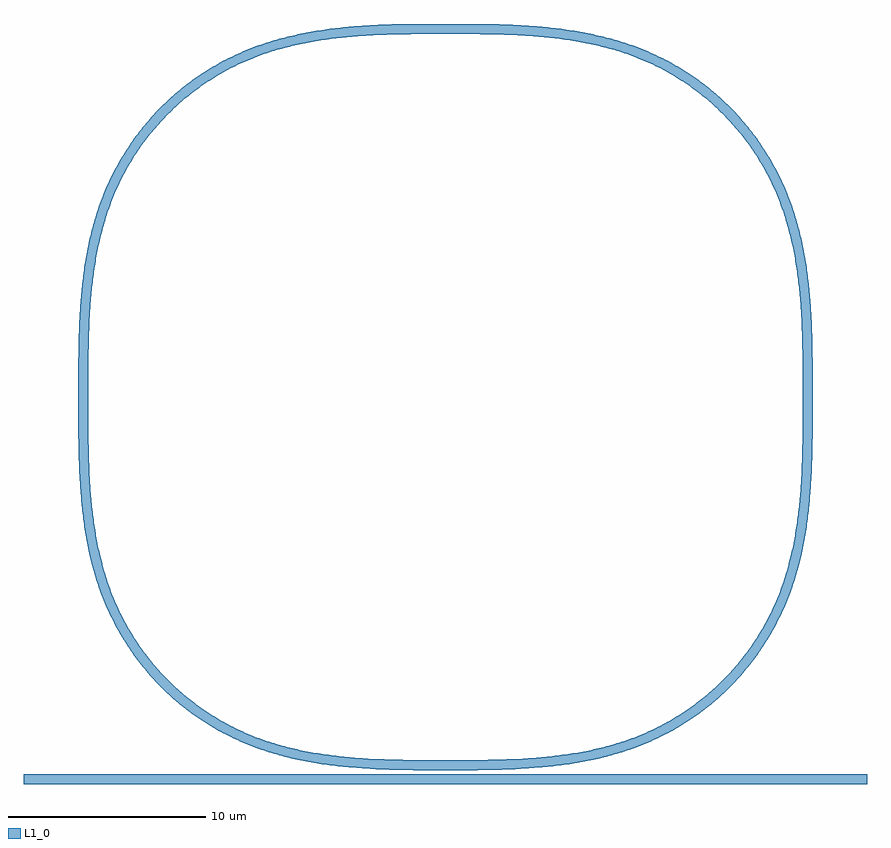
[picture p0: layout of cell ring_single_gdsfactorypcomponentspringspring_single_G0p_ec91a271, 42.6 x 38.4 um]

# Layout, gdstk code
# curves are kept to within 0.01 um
from math import pi, radians
import gdstk
lib = gdstk.Library(unit=1e-6, precision=1e-09)
def R(c, l, rs):  # rectangles x0, y0, x1, y1
    for r in rs: c.add(gdstk.rectangle(r[:2], r[2:], *l))
def P(c, l, *ps):  # polygons
    for p in ps: c.add(gdstk.Polygon(p, *l))
L1_0 = (1, 0)

coupler_ring_gdsfactoryp = lib.new_cell('coupler_ring_gdsfactorypcomponentspcouplerspcoupler_rin_3a2b2ae5')
R(coupler_ring_gdsfactoryp, L1_0, [(-21.3,-0.25,21.3,0.25)])
P(coupler_ring_gdsfactoryp, L1_0, [(-0.677,0.45),(-2.169,0.463),(-3.393,0.499),(-4.21,0.544),(-5.298,0.638),(-6.383,0.779),(-7.193,0.922),(-7.997,1.101),(-8.792,1.32),(-9.575,1.582),(-10.346,1.893),(-11.103,2.254),(-11.835,2.663),(-12.539,3.118),(-13.214,3.617),(-13.855,4.157),(-14.46,4.737),(-15.028,5.355),(-15.554,6.008),(-16.039,6.692),(-16.478,7.406),(-16.872,8.147),(-17.217,8.911),(-17.51,9.684),(-17.757,10.472),(-17.993,11.404),(-18.177,12.347),(-18.298,13.159),(-18.402,14.11),(-18.481,15.199),(-18.521,16.151),(-18.545,17.374),(-18.55,19),(-18.05,19),(-18.045,17.379),(-18.017,16.032),(-17.957,14.824),(-17.879,13.888),(-17.747,12.826),(-17.561,11.774),(-17.381,10.995),(-17.122,10.1),(-16.902,9.473),(-16.595,8.732),(-16.302,8.127),(-15.908,7.423),(-15.547,6.856),(-15.074,6.202),(-14.649,5.681),(-14.103,5.087),(-13.52,4.529),(-12.904,4.009),(-12.255,3.529),(-11.692,3.162),(-10.992,2.761),(-10.268,2.405),(-9.527,2.098),(-8.774,1.838),(-8.005,1.619),(-7.226,1.439),(-6.306,1.273),(-5.245,1.135),(-4.176,1.043),(-3.237,0.993),(-2.295,0.965),(-0.676,0.95),(2.295,0.965),(3.506,1.005),(4.444,1.062),(5.511,1.165),(6.306,1.273),(7.226,1.439),(8.005,1.619),(8.9,1.878),(9.651,2.146),(10.39,2.461),(11.11,2.824),(11.806,3.233),(12.475,3.685),(13.113,4.178),(13.719,4.711),(14.289,5.281),(14.822,5.887),(15.236,6.417),(15.695,7.08),(16.111,7.772),(16.481,8.488),(16.805,9.225),(17.08,9.973),(17.347,10.866),(17.561,11.774),(17.727,12.694),(17.865,13.755),(17.957,14.824),(18.017,16.032),(18.045,17.379),(18.05,19),(18.55,19),(18.545,17.374),(18.512,15.879),(18.456,14.79),(18.376,13.838),(18.261,12.888),(18.104,11.942),(17.899,11.003),(17.68,10.208),(17.418,9.425),(17.107,8.654),(16.746,7.897),(16.337,7.165),(15.882,6.461),(15.383,5.786),(14.843,5.145),(14.263,4.54),(13.645,3.972),(12.992,3.446),(12.308,2.961),(11.594,2.522),(10.853,2.128),(10.089,1.783),(9.316,1.49),(8.395,1.206),(7.596,1.007),(6.653,0.823),(5.705,0.685),(4.754,0.586),(3.665,0.512),(2.441,0.468)])

bend_euler_gdsfactorypco = lib.new_cell('bend_euler_gdsfactorypcomponentspbendspbend_euler_R18p3_4ea8b9f2')
P(bend_euler_gdsfactorypco, L1_0, [(0,-0.25),(0,0.25),(1.621,0.255),(2.968,0.283),(4.176,0.343),(5.112,0.421),(6.174,0.553),(7.226,0.739),(8.005,0.919),(8.9,1.178),(9.527,1.398),(10.268,1.705),(10.873,1.998),(11.577,2.392),(12.144,2.753),(12.798,3.226),(13.319,3.651),(13.913,4.197),(14.471,4.78),(14.991,5.396),(15.471,6.045),(15.838,6.608),(16.176,7.19),(16.539,7.91),(16.854,8.649),(17.122,9.4),(17.381,10.295),(17.561,11.074),(17.747,12.126),(17.879,13.188),(17.957,14.124),(18.017,15.332),(18.045,16.679),(18.05,18.3),(18.55,18.3),(18.545,16.674),(18.512,15.179),(18.456,14.09),(18.376,13.138),(18.261,12.188),(18.104,11.242),(17.899,10.303),(17.719,9.64),(17.418,8.725),(17.163,8.082),(16.746,7.197),(16.408,6.585),(15.961,5.876),(15.469,5.197),(14.936,4.55),(14.362,3.938),(13.75,3.364),(13.103,2.831),(12.424,2.339),(11.715,1.892),(11.103,1.554),(10.218,1.137),(9.575,0.882),(8.66,0.581),(7.997,0.401),(7.058,0.196),(6.112,0.039),(5.162,-0.076),(4.21,-0.156),(3.121,-0.212),(1.626,-0.245)])

straight_gdsfactorypcomp = lib.new_cell('straight_gdsfactorypcomponentspwaveguidespstraight_L0p6_058e2168')
R(straight_gdsfactorypcomp, L1_0, [(0,-0.25,0.6,0.25)])

ring_single_gdsfactorypc = lib.new_cell('ring_single_gdsfactorypcomponentspringspring_single_G0p_ec91a271')
ring_single_gdsfactorypc.add(gdstk.Reference(coupler_ring_gdsfactoryp, (0,0)))
ring_single_gdsfactorypc.add(gdstk.Reference(bend_euler_gdsfactorypco, (0,37.9), rotation=pi))
ring_single_gdsfactorypc.add(gdstk.Reference(bend_euler_gdsfactorypco, (18.3,19.6), rotation=pi/2))
ring_single_gdsfactorypc.add(gdstk.Reference(straight_gdsfactorypcomp, (-18.3,19), rotation=pi/2))
ring_single_gdsfactorypc.add(gdstk.Reference(straight_gdsfactorypcomp, (18.3,19.6), rotation=3*pi/2))

lib.write_gds('ring_single_gdsfactorypcomponentspringspring_single_G0p_ec91a271.gds')
